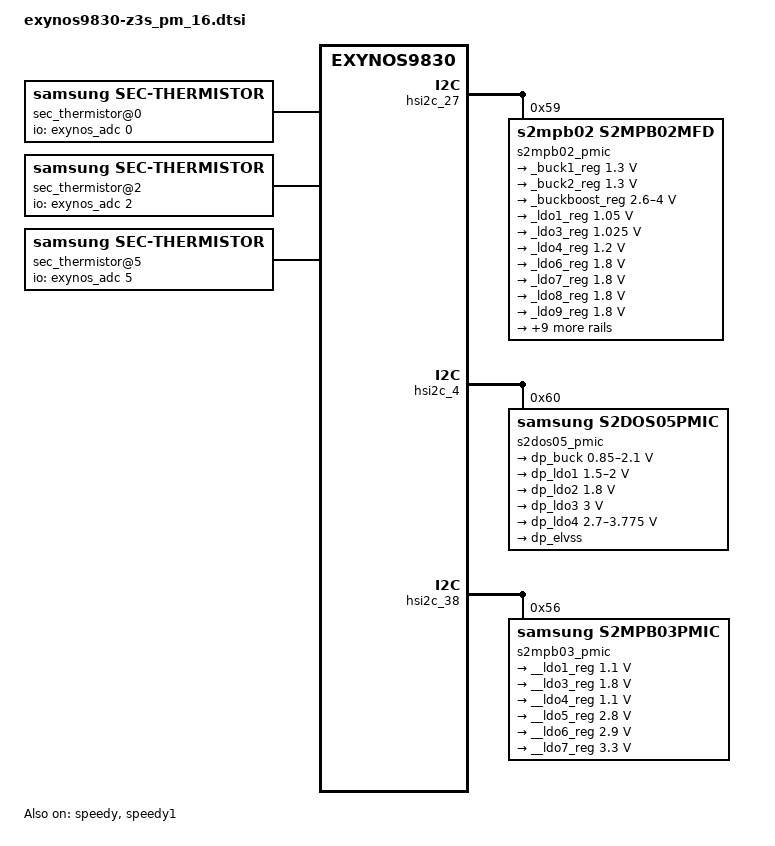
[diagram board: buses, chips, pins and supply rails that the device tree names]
/*
 * SAMSUNG EXYNOS9830 power management device tree source
 *
 * Copyright (c) 2019 Samsung Electronics Co., Ltd.
 *		http://www.samsung.com
 *
 * This program is free software; you can redistribute it and/or modify
 * it under the terms of the GNU General Public License version 2 as
 * published by the Free Software Foundation.
*/

&pinctrl_0 {
	m_pmic_irq: m-pmic-irq {
		samsung,pins = "gpa0-1";
		samsung,pin-pud = <3>;
		samsung,pin-drv = <3>;
	};

	s_pmic_irq: s-pmic-irq {
		samsung,pins = "gpa2-5";
		samsung,pin-pud = <3>;
		samsung,pin-drv = <3>;
	};

	dp_pmic_irq: dp-pmic-irq {
		samsung,pins = "gpa1-4";
		samsung,pin-function = <0>;
		samsung,pin-pud = <0>;
		samsung,pin-drv = <0>;
	};
};

&pinctrl_5 {
	sub_pmic_irq: sub-pmic-irq {
		samsung,pins = "gpg1-2";
		samsung,pin-function = <0>;
		samsung,pin-pud = <0>;
		samsung,pin-con-pdn = <2>;
		samsung,pin-pud-pdn = <0>;
	};
};

&pinctrl_4 {
	smpl_warn: smpl-warn {
		samsung,pins = "gpg0-1";
		samsung,pin-function = <15>;
		samsung,pin-pud = <0>;
		samsung,pin-drv = <0>;
		samsung,pin-con-pdn = <2>;
		samsung,pin-pud-pdn = <0>;
	};
};

&speedy {
	#address-cells = <1>;
	#size-cells = <0>;
	status = "okay";
	s2mps19mfd@00 {
		compatible = "samsung,s2mps19mfd";
		acpm-ipc-channel = <2>;
		acpm-speedy-channel = <0>;
		i2c-speedy-address;
		s2mps19,wakeup = "enabled";
		s2mps19,irq-gpio = <&gpa0 1 0>;
		reg = <0x00>;
		interrupts = <1 0 0>;
		interrupt-parent = <&gpa0>;
		pinctrl-names = "default";
		pinctrl-0 = <&m_pmic_irq &smpl_warn>;
		gpios = <&gpg0 1 0>;
		smpl_warn_en = <1>; /* 1 : enable , 0 : disable */
		/* range of smpl_warn_vth */
		/* 0x00 : 2.1V, 0x20 : 2.3V, 0x40 : 2.5V, 0x60 : 2.7V 0x80 : 2.9V */
		/* 0xA0 : 3.1V, 0xC0 : 3.3V, 0xE0 : 3.5V */
		smpl_warn_vth = <0xA0>;
		/* LowBat_Hys[4:3] 00(100mV), 01(200mV), 10(300mV), 11(400mV) */
		smpl_warn_hys = <0x00>;
		ocp_warn1_en = <1>; /* 1 : enable, 0 : disable */
		ocp_warn1_cnt = <0>; /* ocp warn reset timing control, 0 : 2 clock, 1 : 32 clock */
		ocp_warn1_dvs_mask = <0>; /* ocp warn mask when dvs, 0 : not masked, 1 : masked  */
		ocp_warn1_lv = <0x0>; /* step : -250mA */
		ocp_warn2_en = <0>; /* 1 : enable, 0 : disable */
		ocp_warn2_cnt = <0>; /* ocp warn reset timing control, 0 : 2 clock, 1 : 32 clock */
		ocp_warn2_dvs_mask = <0>; /* ocp warn mask when dvs, 0 : not masked, 1 : masked  */
		ocp_warn2_lv = <0x0>; /* step : -250mA */
		adc_mode = <1>; /* 0 : disable, 1 : current meter, 2 : power meter */
		adc_sync_mode = <2>; /* 1 : sync mode, 2 : async mode */
		/* RTC: wtsr/smpl */
		wtsr_en = "enabled"; /* enable */
		smpl_en = "enabled"; /* enable */
		wtsr_timer_val = <3>;	/* 1000ms */
		smpl_timer_val = <2>;	/* 300ms */
		sub_smpl_en = "enabled"; /* enable */
		check_jigon = <0>; /* do not check jigon */
		/* RTC: If it's first boot, reset rtc to 1/1/2020 12:00:00(Wed) */
		init_time,sec = <0>;
		init_time,min = <0>;
		init_time,hour = <12>;
		init_time,mday = <1>;
		init_time,mon = <0>;
		init_time,year = <120>;
		init_time,wday = <3>;

		regulators {
			buck1_reg: BUCK1M {
				regulator-name = "m_vdd_buck1";
				regulator-min-microvolt = <450000>;
				regulator-max-microvolt = <1100000>;
				regulator-always-on;
				regulator-ramp-delay = <6000>;
				regulator-initial-mode = <2>;
			};

			buck2_reg: BUCK2M {
				regulator-name = "m_vdd_buck2";
				regulator-min-microvolt = <450000>;
				regulator-max-microvolt = <1300000>;
				regulator-always-on;
				regulator-ramp-delay = <6000>;
				regulator-initial-mode = <2>;
			};

			buck3_reg: BUCK3M {
				regulator-name = "m_vdd_buck3";
				regulator-min-microvolt = <450000>;
				regulator-max-microvolt = <1300000>;
				regulator-always-on;
				regulator-ramp-delay = <6000>;
				regulator-initial-mode = <2>;
			};

			buck5_reg: BUCK5M {
				regulator-name = "m_vdd_buck5";
				regulator-min-microvolt = <450000>;
				regulator-max-microvolt = <1100000>;
				regulator-always-on;
				regulator-ramp-delay = <6000>;
				regulator-initial-mode = <2>;
			};

			buck6_reg: BUCK6M {
				regulator-name = "m_vdd_buck6";
				regulator-min-microvolt = <450000>;
				regulator-max-microvolt = <1100000>;
				regulator-always-on;
				regulator-ramp-delay = <6000>;
				regulator-initial-mode = <1>;
			};

			buck7_reg: BUCK7M {
				regulator-name = "m_vdd_buck7";
				regulator-min-microvolt = <450000>;
				regulator-max-microvolt = <1300000>;
				regulator-always-on;
				regulator-ramp-delay = <6000>;
				regulator-initial-mode = <2>;
			};

			buck8_reg: BUCK8M {
				regulator-name = "m_vdd_buck8";
				regulator-min-microvolt = <450000>;
				regulator-max-microvolt = <950000>;
				regulator-always-on;
				regulator-ramp-delay = <6000>;
				regulator-initial-mode = <2>;
			};

			buck9_reg: BUCK9M {
				regulator-name = "m_vdd_buck9";
				regulator-min-microvolt = <800000>;
				regulator-max-microvolt = <1300000>;
				regulator-always-on;
				regulator-ramp-delay = <6000>;
				regulator-initial-mode = <3>;
			};

			buck10_reg: BUCK10M {
				regulator-name = "m_vdd_buck10";
				regulator-min-microvolt = <800000>;
				regulator-max-microvolt = <1300000>;
				regulator-always-on;
				regulator-ramp-delay = <6000>;
				regulator-initial-mode = <3>;
			};

			buck11_reg: BUCK11M {
				regulator-name = "m_vdd_buck11";
				regulator-min-microvolt = <1100000>;
				regulator-max-microvolt = <1500000>;
				regulator-always-on;
				regulator-ramp-delay = <6000>;
				regulator-initial-mode = <3>;
			};

			buck12_reg: BUCK12M {
				regulator-name = "m_vdd_buck12";
				regulator-min-microvolt = <1750000>;
				regulator-max-microvolt = <2150000>;
				regulator-always-on;
				regulator-ramp-delay = <6000>;
				regulator-initial-mode = <3>;
			};

			ldo1_reg: LDO1M {
				regulator-name = "m_vdd_ldo1";
				regulator-min-microvolt = <700000>;
				regulator-max-microvolt = <950000>;
				regulator-always-on;
				regulator-ramp-delay = <12000>;
				regulator-initial-mode = <3>;
			};

			ldo2_reg: LDO2M {
				regulator-name = "vqmmc";
				regulator-min-microvolt = <1800000>;
				regulator-max-microvolt = <2950000>;
				regulator-ramp-delay = <12000>;
				regulator-initial-mode = <3>;
			};

			ldo3_reg: LDO3M {
				regulator-name = "m_vdd_ldo3";
				regulator-min-microvolt = <700000>;
				regulator-max-microvolt = <1100000>;
				regulator-always-on;
				regulator-ramp-delay = <12000>;
				regulator-initial-mode = <1>;
			};

			ldo4_reg: LDO4M {
				regulator-name = "m_vdd_ldo4";
				regulator-min-microvolt = <1600000>;
				regulator-max-microvolt = <1950000>;
				regulator-always-on;
				regulator-ramp-delay = <12000>;
				regulator-initial-mode = <1>;
			};

			ldo5_reg: LDO5M {
				regulator-name = "m_vdd_ldo5";
				regulator-min-microvolt = <450000>;
				regulator-max-microvolt = <1100000>;
				regulator-always-on;
				regulator-ramp-delay = <12000>;
				regulator-initial-mode = <1>;
			};

			ldo6_reg: LDO6M {
				regulator-name = "m_vdd_ldo6";
				regulator-min-microvolt = <450000>;
				regulator-max-microvolt = <950000>;
				regulator-always-on;
				regulator-ramp-delay = <12000>;
				regulator-initial-mode = <1>;
			};

			ldo9_reg: LDO9M {
				regulator-name = "m_vdd_ldo9";
				regulator-min-microvolt = <700000>;
				regulator-max-microvolt = <1300000>;
				regulator-always-on;
				regulator-ramp-delay = <12000>;
				regulator-initial-mode = <1>;
			};

			ldo10_reg: LDO10M {
				regulator-name = "m_vdd_ldo10";
				regulator-min-microvolt = <700000>;
				regulator-max-microvolt = <1100000>;
				regulator-boot-on;
				regulator-ramp-delay = <12000>;
				regulator-initial-mode = <3>;
			};

			ldo11_reg: LDO11M {
				regulator-name = "m_vdd_ldo11";
				regulator-min-microvolt = <1600000>;
				regulator-max-microvolt = <1950000>;
				regulator-boot-on;
				regulator-ramp-delay = <12000>;
				regulator-initial-mode = <3>;
			};

			ldo12_reg: LDO12M {
				regulator-name = "m_vdd_ldo12";
				regulator-min-microvolt = <1700000>;
				regulator-max-microvolt = <3350000>;
				regulator-boot-on;
				regulator-ramp-delay = <12000>;
				regulator-initial-mode = <3>;
			};

			ldo13_reg: LDO13M {
				regulator-name = "m_vdd_ldo13";
				regulator-min-microvolt = <1800000>;
				regulator-max-microvolt = <3350000>;
				regulator-boot-on;
				regulator-ramp-delay = <12000>;
				regulator-initial-mode = <3>;
			};

			ldo14_reg: LDO14M {
				regulator-name = "m_vdd_ldo14";
				regulator-min-microvolt = <1800000>;
				regulator-max-microvolt = <3350000>;
				regulator-boot-on;
				regulator-ramp-delay = <12000>;
				regulator-initial-mode = <3>;
			};

			ldo15_reg: LDO15M {
				regulator-name = "vmmc";
				regulator-min-microvolt = <2950000>;
				regulator-max-microvolt = <2950000>;
				regulator-ramp-delay = <12000>;
				regulator-initial-mode = <3>;
			};

			ldo16_reg: LDO16M {
				regulator-name = "m_vdd_ldo16";
				regulator-min-microvolt = <2500000>;
				regulator-max-microvolt = <3300000>;
				regulator-always-on;
				regulator-ramp-delay = <12000>;
				regulator-initial-mode = <3>;
			};

			ldo17_reg: LDO17M {
				regulator-name = "VDD_AF_OIS_IO_1P8_SUB";
				regulator-min-microvolt = <1800000>;
				regulator-max-microvolt = <1800000>;
				regulator-ramp-delay = <12000>;
				regulator-initial-mode = <3>;
			};

			ldo18_reg: LDO18M {
				regulator-name = "m_vdd_ldo18";
				regulator-min-microvolt = <700000>;
				regulator-max-microvolt = <1300000>;
				regulator-always-on;
				regulator-ramp-delay = <12000>;
				regulator-initial-mode = <2>;
			};

			ldo19_reg: LDO19M {
				regulator-name = "VDD_BTP_1P8";
				regulator-min-microvolt = <1800000>;
				regulator-max-microvolt = <1800000>;
				regulator-ramp-delay = <12000>;
				regulator-initial-mode = <2>;
			};

			ldo20_reg: LDO20M {
				regulator-name = "VDD_AF_OIS_VM_2P8_SUB";
				regulator-min-microvolt = <2800000>;
				regulator-max-microvolt = <2800000>;
				regulator-ramp-delay = <12000>;
				regulator-initial-mode = <3>;
			};

			ldo21_reg: LDO21M {
				regulator-name = "vdd_mcu_1p8";
				regulator-min-microvolt = <1800000>;
				regulator-max-microvolt = <1800000>;
				regulator-ramp-delay = <12000>;
				regulator-initial-mode = <3>;
			};

			ldo22_reg: LDO22M {
				regulator-name = "VDD_NFC_1P8";
				regulator-min-microvolt = <1800000>;
				regulator-max-microvolt = <1800000>;
				regulator-ramp-delay = <12000>;
				regulator-initial-mode = <3>;
			};

			ldo24_reg: LDO24M {
				regulator-name = "VDDA_2.8V_FRONTSUB";
				regulator-min-microvolt = <2500000>;
				regulator-max-microvolt = <3300000>;
				regulator-ramp-delay = <12000>;
				regulator-initial-mode = <3>;
			};

			ldo25_reg: LDO25M {
				regulator-name = "VDD_FLICKER_1P8";
				regulator-min-microvolt = <1600000>;
				regulator-max-microvolt = <2200000>;
				regulator-ramp-delay = <12000>;
				regulator-initial-mode = <3>;
			};

			ldo26_reg: LDO26M {
				regulator-name = "m_vdd_ldo26";
				regulator-min-microvolt = <1800000>;
				regulator-max-microvolt = <1800000>;
				regulator-ramp-delay = <12000>;
				regulator-initial-mode = <3>;
			};

			ldo28_reg: LDO28M {
				regulator-name = "VDD_ESE_SEN4";
				regulator-min-microvolt = <1800000>;
				regulator-max-microvolt = <1800000>;
				regulator-boot-on;
				regulator-ramp-delay = <12000>;
				regulator-initial-mode = <3>;
			};
		};
	};
};

&speedy1 {
	#address-cells = <1>;
	#size-cells = <0>;
	status = "okay";
	s2mps22mfd@00 {
		compatible = "samsung,s2mps22mfd";
		acpm-ipc-channel = <2>;
		acpm-speedy-channel = <1>;
		i2c-speedy-address;
		s2mps22,wakeup = "enabled";
		s2mps22,irq-gpio = <&gpa2 5 0>;
		reg = <0x00>;
		interrupts = <1 0 0>;
		interrupt-parent = <&gpa2>;
		pinctrl-names = "default";
		pinctrl-0 = <&s_pmic_irq>;
		adc_mode = <1>; /* 0 : disable, 1 : current meter, 2 : power meter */
		adc_sync_mode = <2>; /* 1 : sync mode, 2 : async mode */
		wtsr_en = <1>; /* 0 : disable, 1 : enable */

		regulators {
			s_buck1_reg: BUCK1S {
				regulator-name = "s_vdd_buck1";
				regulator-min-microvolt = <450000>;
				regulator-max-microvolt = <950000>;
				regulator-always-on;
				regulator-ramp-delay = <6000>;
				regulator-initial-mode = <1>;
			};

			s_buck2_reg: BUCK2S {
				regulator-name = "s_vdd_buck2";
				regulator-min-microvolt = <450000>;
				regulator-max-microvolt = <1100000>;
				regulator-always-on;
				regulator-ramp-delay = <6000>;
				regulator-initial-mode = <1>;
			};

			s_buck3_reg: BUCK3S {
				regulator-name = "s_vdd_buck3";
				regulator-min-microvolt = <450000>;
				regulator-max-microvolt = <1300000>;
				regulator-always-on;
				regulator-ramp-delay = <6000>;
				regulator-initial-mode = <1>;
			};

			s_buck4_reg: BUCK4S {
				regulator-name = "s_vdd_buck4";
				regulator-min-microvolt = <900000>;
				regulator-max-microvolt = <1300000>;
				regulator-always-on;
				regulator-ramp-delay = <6000>;
				regulator-initial-mode = <3>;
			};

			s_ldo1_reg: LDO1S {
				regulator-name = "s_vdd_ldo1";
				regulator-min-microvolt = <450000>;
				regulator-max-microvolt = <950000>;
				regulator-always-on;
				regulator-ramp-delay = <12000>;
				regulator-initial-mode = <1>;
			};

			s_ldo2_reg: LDO2S {
				regulator-name = "s_vdd_ldo2";
				regulator-min-microvolt = <450000>;
				regulator-max-microvolt = <950000>;
				regulator-always-on;
				regulator-ramp-delay = <12000>;
				regulator-initial-mode = <1>;
			};

			s_ldo3_reg: LDO3S {
				regulator-name = "s_vdd_ldo3";
				regulator-min-microvolt = <450000>;
				regulator-max-microvolt = <1300000>;
				regulator-always-on;
				regulator-ramp-delay = <12000>;
				regulator-initial-mode = <1>;
			};

			s_ldo4_reg: LDO4S {
				regulator-name = "s_vdd_ldo4";
				regulator-min-microvolt = <1600000>;
				regulator-max-microvolt = <1950000>;
				regulator-always-on;
				regulator-ramp-delay = <12000>;
				regulator-initial-mode = <3>;
			};

			s_ldo5_reg: LDO5S {
				regulator-name = "s_vdd_ldo5";
				regulator-min-microvolt = <700000>;
				regulator-max-microvolt = <1100000>;
				regulator-ramp-delay = <12000>;
				regulator-initial-mode = <1>;
			};

			s_ldo6_reg: LDO6S {
				regulator-name = "s_vdd_ldo6";
				regulator-min-microvolt = <1600000>;
				regulator-max-microvolt = <1950000>;
				regulator-ramp-delay = <12000>;
				regulator-initial-mode = <1>;
			};
		};
	};
};

&hsi2c_27 {
	#address-cells = <1>;
	#size-cells = <0>;
	status = "okay";
	s2mpb02_pmic@59 {
		compatible = "s2mpb02,s2mpb02mfd";
		reg = <0x59>;

		s2mpb02,wakeup;
		pinctrl-names = "default";
		pinctrl-0 = <&sub_pmic_irq>;

		regulators {
			_buck1_reg: s2mpb02-buck1 {
				regulator-name = "S2MPB02_BUCK1";
				regulator-min-microvolt = <1300000>;
				regulator-max-microvolt = <1300000>;
				regulator-always-on;
				regulator-boot-on;
			};

			_buck2_reg: s2mpb02-buck2 {
				regulator-name = "S2MPB02_BUCK2";
				regulator-min-microvolt = <1300000>;
				regulator-max-microvolt = <1300000>;
			};

			_buckboost_reg: s2mpb02-bb {
				regulator-name = "S2MPB02_BB";
				regulator-min-microvolt = <2600000>;
				regulator-max-microvolt = <4000000>;
				regulator-always-on;
				regulator-boot-on;
				regulator-allowed-modes = <1>, <2>;
			};

			_ldo1_reg: s2mpb02-ldo1 {
				regulator-name = "VDDPHY_1.05V_CAM";
				regulator-min-microvolt = <1050000>;
				regulator-max-microvolt = <1050000>;
			};

			_ldo3_reg: s2mpb02-ldo3 {
				regulator-name = "VDDD_1.05V_WIDESUB";
				regulator-min-microvolt = <1025000>;
				regulator-max-microvolt = <1025000>;
			};

			_ldo4_reg: s2mpb02-ldo4 {
				regulator-name = "VDDD_1.2V_TOF";
				regulator-min-microvolt = <1200000>;
				regulator-max-microvolt = <1200000>;
			};

			_ldo6_reg: s2mpb02-ldo6 {
				regulator-name = "VDDIO_1.8V_VT";
				regulator-min-microvolt = <1800000>;
				regulator-max-microvolt = <1800000>;
			};

			_ldo7_reg: s2mpb02-ldo7 {
				regulator-name = "VDDIO_1.8V_SUB";
				regulator-min-microvolt = <1800000>;
				regulator-max-microvolt = <1800000>;
			};

			_ldo8_reg: s2mpb02-ldo8 {
				regulator-name = "VDDIO_1.8V_WIDESUB";
				regulator-min-microvolt = <1800000>;
				regulator-max-microvolt = <1800000>;
			};

			_ldo9_reg: s2mpb02-ldo9 {
				regulator-name = "VDDIO_1.8V_TOF";
				regulator-min-microvolt = <1800000>;
				regulator-max-microvolt = <1800000>;
			};

			_ldo10_reg: s2mpb02-ldo10 {
				regulator-name = "VDDA_1.8V_SUB";
				regulator-min-microvolt = <1800000>;
				regulator-max-microvolt = <1800000>;
			};

			_ldo11_reg: s2mpb02-ldo11 {
				regulator-name = "VDDA_2.15V_WIDESUB";
				regulator-min-microvolt = <2150000>;
				regulator-max-microvolt = <2150000>;
			};

			_ldo12_reg: s2mpb02-ldo12 {
				regulator-name = "VDDD_2.8V_OIS_AF_SUB";
				regulator-min-microvolt = <2800000>;
				regulator-max-microvolt = <2800000>;
			};

			_ldo13_reg: s2mpb02-ldo13 {
				regulator-name = "VDDA_2.8V_WIDESUB";
				regulator-min-microvolt = <2950000>;
				regulator-max-microvolt = <2950000>;
			};

			_ldo14_reg: s2mpb02-ldo14 {
				regulator-name = "VDDAF_COMMON_CAM";
				regulator-min-microvolt = <3300000>;
				regulator-max-microvolt = <3300000>;
			};

			_ldo15_reg: s2mpb02-ldo15 {
				regulator-name = "VDDD_3.3V_TOF";
				regulator-min-microvolt = <3300000>;
				regulator-max-microvolt = <3300000>;
			};

			_ldo16_reg: s2mpb02-ldo16 {
				regulator-name = "VDDAF_2.8V_VT";
				regulator-min-microvolt = <2800000>;
				regulator-max-microvolt = <2800000>;
			};

			_ldo17_reg: s2mpb02-ldo17 {
				regulator-name = "VDDA_2.7V_TOF";
				regulator-min-microvolt = <2700000>;
				regulator-max-microvolt = <2700000>;
			};

			_ldo18_reg: s2mpb02-ldo18 {
				regulator-name = "S2MPB02_LDO18";
				regulator-min-microvolt = <3300000>;
				regulator-max-microvolt = <3300000>;
				regulator-always-on;
				regulator-boot-on;
			};
		};

		torch {
			torch1-gpio = <&gpp4 4 0x1>;
			flash1-gpio = <&gpp4 0 0x1>;

			status = "okay";

			leds1 {
				ledname = "leds-sec1";
				id = <0>;
				brightness = <0xE>; /* adaptive Nx100+50 : 1450mA */
				timeout = <0x7>; /* (N+1)x62.5 : 500ms */
				torch_table_enable = <0>;
			};

			leds2 {
				ledname = "torch-sec1";
				id = <1>;
				brightness = <0xE>; /* Nx20 = 280mA */
				timeout = <0xF>;
				torch_table_enable = <1>;
				torch_table = <3 5 5 6 6 8 8 8 10 10>;
				/* 60mA 100mA 120mA 160mA 200mA */
			};
		};
	};
};

&hsi2c_4 {
	#address-cells = <1>;
	#size-cells = <0>;
	status = "okay";
	s2dos05_pmic@60 {
		compatible = "samsung,s2dos05pmic";
		reg = <0x60>;
		s2dos05,wakeup;
		pinctrl-names = "default";
		pinctrl-0 = <&dp_pmic_irq>;
		s2dos05,s2dos05_int = <&gpa1 4 0>;
		adc_mode = <2>; /* 0 : disable, 1 : current meter, 2 : power meter */
		adc_sync_mode = <2>; /* 1 : sync mode, 2 : async mode */
		regulators {
			dp_buck: s2dos05-buck1 {
				regulator-name = "vdd1";
				regulator-min-microvolt = <850000>;
				regulator-max-microvolt = <2100000>;
				regulator-boot-on;
			};

			dp_ldo1: s2dos05-ldo1 {
				regulator-name = "vdd2";
				regulator-min-microvolt = <1500000>;
				regulator-max-microvolt = <2000000>;
				regulator-boot-on;
			};

			dp_ldo2: s2dos05-ldo2 {
				regulator-name = "tsp_io";
				regulator-min-microvolt = <1800000>;
				regulator-max-microvolt = <1800000>;
				regulator-boot-on;
			};

			dp_ldo3: s2dos05-ldo3{
				regulator-name = "tsp_avdd";
				regulator-min-microvolt = <3000000>;
				regulator-max-microvolt = <3000000>;
				regulator-boot-on;
			};

			dp_ldo4: s2dos05-ldo4{
				regulator-name = "vdd5";
				regulator-min-microvolt = <2700000>;
				regulator-max-microvolt = <3775000>;
				regulator-boot-on;
			};

			dp_elvss: s2dos05-elvss{
				regulator-name = "elvss";
				regulator-min-microamp = <0>;
				regulator-max-microamp = <8000>;
			};
		};
	};
};

&hsi2c_38 {
	#address-cells = <1>;
	#size-cells = <0>;
	status = "okay";
	s2mpb03_pmic@56 {
		compatible = "samsung,s2mpb03pmic";
		reg = <0x56>;

		s2mpb03,wakeup;

		regulators {
			__ldo1_reg: s2mpb03-ldo1 {
				regulator-name = "VDDD_1.1V_SUB";
				regulator-min-microvolt = <1100000>;
				regulator-max-microvolt = <1100000>;
			};

			__ldo3_reg: s2mpb03-ldo3 {
				regulator-name = "VDDIO_1.8V_CAM";
				regulator-min-microvolt = <1800000>;
				regulator-max-microvolt = <1800000>;
			};

			__ldo4_reg: s2mpb03-ldo4 {
				regulator-name = "VDDD_PLL_1.1V_SUB";
				regulator-min-microvolt = <1100000>;
				regulator-max-microvolt = <1100000>;
			};

			__ldo5_reg: s2mpb03-ldo5 {
				regulator-name = "VDDA_2.8V_CAM";
				regulator-min-microvolt = <2800000>;
				regulator-max-microvolt = <2800000>;
			};

			__ldo6_reg: s2mpb03-ldo6 {
				regulator-name = "VDDA_2.9V_SUB";
				regulator-min-microvolt = <2900000>;
				regulator-max-microvolt = <2900000>;
			};

			__ldo7_reg: s2mpb03-ldo7 {
				regulator-name = "VDD_MAIN_3.3V_OIS";
				regulator-min-microvolt = <3300000>;
				regulator-max-microvolt = <3300000>;
			};
		};
	};
};

/ {

	fragment@model {
		target-path = "/";
		__overlay__ {
			exynos_pm_dvs {
				compatible = "samsung,exynos-pm-dvs";
				vdd_lldo1 {
					regulator_name = "m_vdd_buck9";
					suspend_volt = <800000>;
					init_volt = <850000>;
					volt_range_step = <62500>;
				};

				vdd_lldo2 {
					regulator_name = "m_vdd_buck10";
					suspend_volt = <900000>;
					init_volt = <950000>;
					volt_range_step = <62500>;
				};

				vdd_lldo3 {
					regulator_name = "m_vdd_buck11";
					suspend_volt = <1250000>;
					init_volt = <1350000>;
					volt_range_step = <62500>;
				};
				vdd_mldo {
					regulator_name = "m_vdd_buck12";
					suspend_volt = <1850000>;
					init_volt = <2000000>;
					volt_range_step = <12500>;
				};
			};

			secgpio_dvs {
				compatible = "samsung,exynos9830-secgpio-dvs";
				status = "okay";
			};

			sec_pm_debug {
				compatible = "samsung,sec-pm-debug";
				status = "okay";
			};

			sec_thermistor@0 {
				compatible = "samsung,sec-thermistor";
				status = "okay";
				thermistor_name = "sec-ap-thermistor";
				id = <0>;

				adc_array = <235 269 331 399 470 562 665 794 937 1099
					1288 1491 1712 1950 2187 2420 2650 2872 3074 3242
					3390 3504 3601>;
				temp_array = <900 850 800 750 700 650 600 550 500 450
					  400 350 300 250 200 150 100 50 0 (-50)
					  (-100) (-150) (-200)>;

				io-channels = <&exynos_adc 0>;
				io-channel-names = "adc-ap-temp";
				io-channel-ranges;
			};

			sec_thermistor@2 {
				compatible = "samsung,sec-thermistor";
				status = "okay";
				thermistor_name = "sec-wf-thermistor";
				id = <1>;

				adc_array = <248 288 347 416 494 584 689 819 961 1127
					1314 1517 1739 1977 2217 2457 2686 2907 3105 3289
					3442 3571 3666>;
				temp_array = <900 850 800 750 700 650 600 550 500 450
					  400 350 300 250 200 150 100 50 0 (-50)
					  (-100) (-150) (-200)>;

				io-channels = <&exynos_adc 2>;
				io-channel-names = "adc-wf-temp";
				io-channel-ranges;
			};

			sec_thermistor@5 {
				compatible = "samsung,sec-thermistor";
				status = "okay";
				thermistor_name = "sec-cp-thermistor";
				id = <2>;

				adc_array = <246 284 344 413 490 582 683 814 957 1121
					1300 1512 1734 1971 2209 2448 2688 2911 3115 3300
					3449 3569 3679>;
				temp_array = <900 850 800 750 700 650 600 550 500 450
					  400 350 300 250 200 150 100 50 0 (-50)
					  (-100) (-150) (-200)>;

				io-channels = <&exynos_adc 5>;
				io-channel-names = "adc-cp-temp";
				io-channel-ranges;
			};
		}; /* end of __overlay__ */
	}; /* end of fragment */
}; /* end of root */
